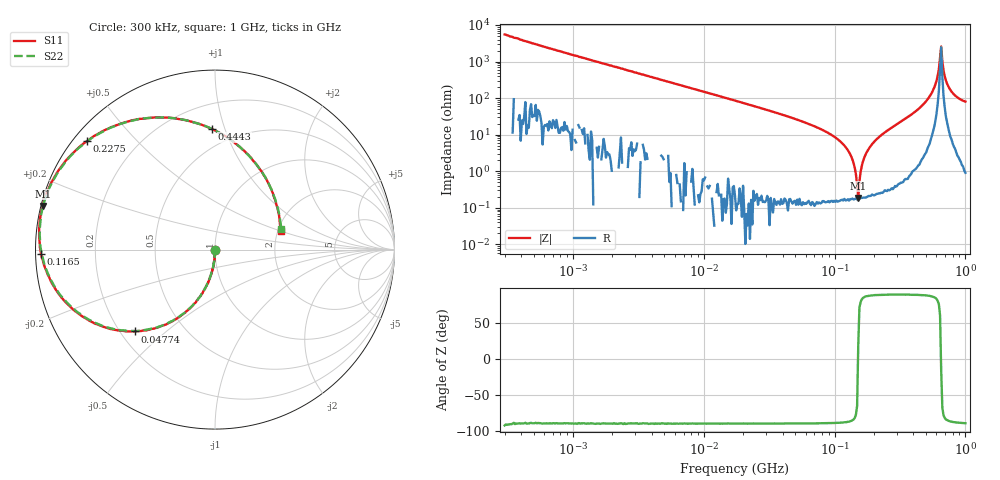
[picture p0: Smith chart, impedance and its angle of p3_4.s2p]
#  HZ  S  RI  R  50
! Rohde & Schwarz ZVA/B
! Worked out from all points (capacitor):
!   401 points, 300 kHz to 1 GHz, reference 50 ohm
!   read as one part in shunt: C = 100 pF near 312.4 kHz
!   lowest |Z| = 186 mohm at 151.7 MHz (marker M1)
!   series resonance near 151.3 MHz, so ESL is about 11 nH
!   S11 on the Smith chart (normalised r, x): 300 kHz: 1.00, -0.01; 47.74 MHz: 0.26, -0.40; 116.5 MHz: 0.02, -0.01; 227.5 MHz: 0.04, +0.37; 444.3 MHz: 0.37, +0.90; 1 GHz: 2.06, +0.51
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300000  0.000768 -0.00404  0.9995 -0.0051  1 -0.00544  0.000446 -0.00354
1167356  -0.000205 -0.0183  0.9993 -0.0202  0.9995 -0.0205  -0.000863 -0.0184
4542403  -0.00555 -0.0707  0.9943 -0.0797  0.9934 -0.0783  -0.00538 -0.0712
1.732051e7  -0.0775 -0.2538  0.9185 -0.2827  0.9212 -0.2833  -0.0786 -0.254
3.056062e7  -0.2199 -0.3889  0.7755 -0.4393  0.7755 -0.4404  -0.2235 -0.3879
4.774418e7  -0.4481 -0.4558  0.546 -0.5352  0.5455 -0.5346  -0.4493 -0.4534
6.739735e7  -0.6846 -0.4038  0.3069 -0.5147  0.3061 -0.5136  -0.6859 -0.3991
9.323049e7  -0.8875 -0.2224  0.0979 -0.372  0.0973 -0.3718  -0.8874 -0.2163
1.165298e8  -0.9692 -0.0263  0.0113 -0.2135  0.0112 -0.2133  -0.9658 -0.0179
1.343036e8  -0.9801 0.1175  -0.0052 -0.0985  -0.00526 -0.0985  -0.9755 0.1238
1.398627e8  -0.9768 0.16  -0.00411 -0.065  -0.00354 -0.0648  -0.971 0.1674
1.456519e8  -0.9705 0.2017  0.00046 -0.0319  0.000417 -0.0321  -0.9656 0.2096
1.516808e8  -0.9599 0.2424  0.0072 0.000562  0.00722 0.000525  -0.9545 0.2508
1.579593e8  -0.9484 0.2851  0.0175 0.0322  0.0175 0.0319  -0.9426 0.2927
1.644976e8  -0.9331 0.3274  0.03 0.063  0.0299 0.0631  -0.9273 0.3337
1.74816e8  -0.9043 0.3863  0.0539 0.1069  0.0541 0.1067  -0.8974 0.3925
2.275488e8  -0.7114 0.6058  0.2192 0.2432  0.2193 0.2438  -0.7032 0.6102
2.622557e8  -0.5745 0.6834  0.3368 0.2697  0.337 0.2684  -0.5621 0.6866
3.413647e8  -0.2856 0.7359  0.5616 0.2052  0.5614 0.205  -0.2763 0.7357
4.443366e8  -0.0166 0.6715  0.7263 0.00516  0.7266 0.00534  -0.00908 0.6692
6.665858e8  0.2677 0.4214  0.7119 -0.4679  0.7123 -0.4668  0.2681 0.4225
1e9  0.365 0.1059  0.2518 -0.8707  0.2527 -0.8706  0.3682 0.1139
